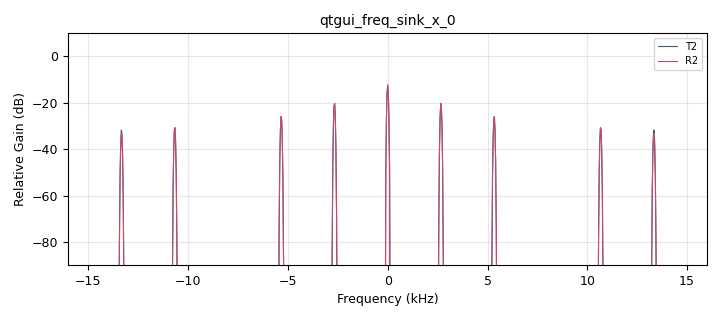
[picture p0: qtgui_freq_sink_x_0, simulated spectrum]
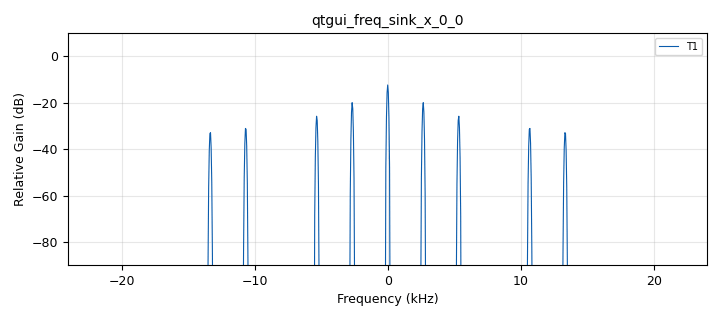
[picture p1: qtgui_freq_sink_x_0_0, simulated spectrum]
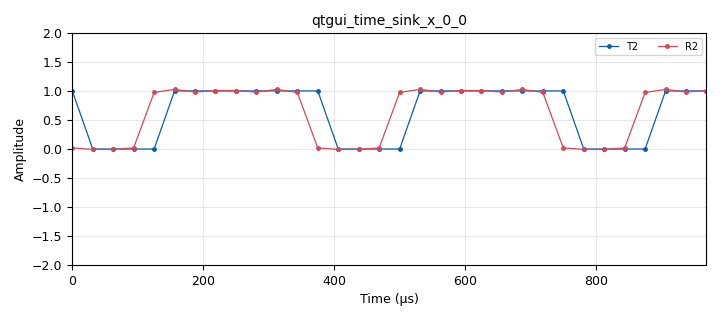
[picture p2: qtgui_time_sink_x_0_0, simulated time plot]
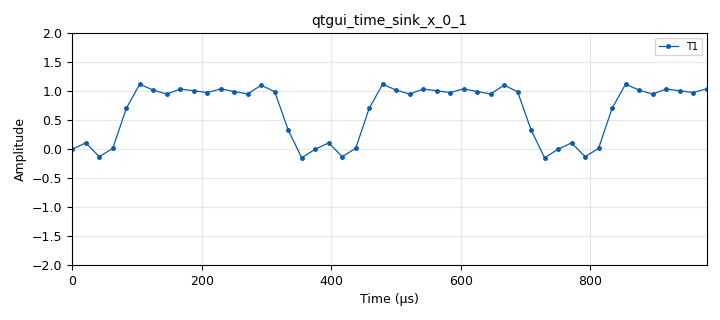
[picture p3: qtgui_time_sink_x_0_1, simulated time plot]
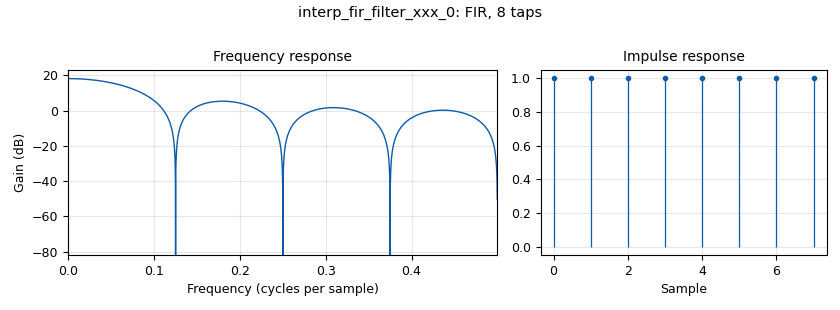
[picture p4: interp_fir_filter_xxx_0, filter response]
<?xml version='1.0' encoding='utf-8'?>
<?grc format='1' created='3.7.13'?>
<flow_graph>
<block>
<key>options</key>
<param><key>id</key><value>top_block</value></param>
<param><key>generate_options</key><value>qt_gui</value></param>
<param><key>run</key><value>run_stop</value></param>
</block>
<block>
<key>variable</key>
<param><key>id</key><value>BW</value></param>
<param><key>value</key><value>Rb*Sps/2</value></param>
</block>
<block>
<key>variable_qtgui_range</key>
<param><key>id</key><value>Del</value></param>
<param><key>value</key><value>5</value></param>
<param><key>gui_hint</key><value>0,2,1,1</value></param>
<param><key>label</key><value>Retardo</value></param>
<param><key>orient</key><value>Qt.Horizontal</value></param>
<param><key>start</key><value>-200</value></param>
<param><key>step</key><value>1</value></param>
<param><key>stop</key><value>200</value></param>
<param><key>rangeType</key><value>int</value></param>
</block>
<block>
<key>variable</key>
<param><key>id</key><value>Kd</value></param>
<param><key>value</key><value>float(samp_rate_data)/samp_rate_d</value></param>
</block>
<block>
<key>variable</key>
<param><key>id</key><value>Ki</value></param>
<param><key>value</key><value>float(samp_rate_d)/samp_rate_data</value></param>
</block>
<block>
<key>variable</key>
<param><key>id</key><value>Rb</value></param>
<param><key>value</key><value>samp_rate_data/Sps</value></param>
</block>
<block>
<key>variable</key>
<param><key>id</key><value>Sps</value></param>
<param><key>value</key><value>8</value></param>
</block>
<block>
<key>variable_qtgui_range</key>
<param><key>id</key><value>Vol</value></param>
<param><key>value</key><value>1.</value></param>
<param><key>gui_hint</key><value>0,1,1,1</value></param>
<param><key>label</key><value>Volumen</value></param>
<param><key>orient</key><value>Qt.Horizontal</value></param>
<param><key>start</key><value>0</value></param>
<param><key>step</key><value>10/100.</value></param>
<param><key>stop</key><value>10.</value></param>
</block>
<block>
<key>variable</key>
<param><key>id</key><value>f_nyq</value></param>
<param><key>value</key><value>BW*2</value></param>
</block>
<block>
<key>variable_qtgui_check_box</key>
<param><key>id</key><value>run_stop</value></param>
<param><key>value</key><value>True</value></param>
<param><key>false</key><value>False</value></param>
<param><key>gui_hint</key><value>0,0</value></param>
<param><key>label</key><value>Inicial/Parar</value></param>
<param><key>true</key><value>True</value></param>
<param><key>type</key><value>int</value></param>
</block>
<block>
<key>variable</key>
<param><key>id</key><value>samp_rate_d</value></param>
<param><key>value</key><value>BW*3</value></param>
</block>
<block>
<key>variable</key>
<param><key>id</key><value>samp_rate_data</value></param>
<param><key>value</key><value>32000</value></param>
</block>
<block>
<key>blocks_delay</key>
<param><key>id</key><value>blocks_delay_0_0</value></param>
<param><key>delay</key><value>Del</value></param>
<param><key>type</key><value>float</value></param>
</block>
<block>
<key>blocks_null_sink</key>
<param><key>id</key><value>blocks_null_sink_0</value></param>
<param><key>bus_conns</key><value>[[0,],]</value></param>
<param><key>type</key><value>float</value></param>
</block>
<block>
<key>blocks_vector_source_x</key>
<param><key>id</key><value>blocks_vector_source_x_0</value></param>
<param><key>type</key><value>float</value></param>
<param><key>repeat</key><value>True</value></param>
<param><key>vector</key><value>(1,0, 0,0,0,0,0,0,0,0,0,0)</value></param>
</block>
<block>
<key>interp_fir_filter_xxx</key>
<param><key>id</key><value>interp_fir_filter_xxx_0</value></param>
<param><key>interp</key><value>1</value></param>
<param><key>taps</key><value>([1]*Sps)</value></param>
<param><key>type</key><value>fff</value></param>
</block>
<block>
<key>qtgui_tab_widget</key>
<param><key>id</key><value>menu</value></param>
<param><key>gui_hint</key><value>1,0,1,3</value></param>
<param><key>label0</key><value>tiempo</value></param>
<param><key>label1</key><value>frecuencia</value></param>
<param><key>num_tabs</key><value>2</value></param>
</block>
<block>
<key>qtgui_freq_sink_x</key>
<param><key>id</key><value>qtgui_freq_sink_x_0</value></param>
<param><key>average</key><value>0.05</value></param>
<param><key>bw</key><value>samp_rate_data</value></param>
<param><key>fc</key><value>0</value></param>
<param><key>fftsize</key><value>1024</value></param>
<param><key>gui_hint</key><value>menu@1:2,0,1,1</value></param>
<param><key>color1</key><value>"red"</value></param>
<param><key>label1</key><value>T2</value></param>
<param><key>width1</key><value>2</value></param>
<param><key>color2</key><value>"blue"</value></param>
<param><key>label2</key><value>R2</value></param>
<param><key>width2</key><value>2</value></param>
<param><key>nconnections</key><value>2</value></param>
<param><key>showports</key><value>True</value></param>
<param><key>type</key><value>float</value></param>
<param><key>wintype</key><value>firdes.WIN_BLACKMAN_hARRIS</value></param>
<param><key>ymin</key><value>-90</value></param>
</block>
<block>
<key>qtgui_freq_sink_x</key>
<param><key>id</key><value>qtgui_freq_sink_x_0_0</value></param>
<param><key>average</key><value>0.05</value></param>
<param><key>bw</key><value>samp_rate_d</value></param>
<param><key>fc</key><value>0</value></param>
<param><key>fftsize</key><value>1024</value></param>
<param><key>gui_hint</key><value>menu@1:1,0,1,1</value></param>
<param><key>color1</key><value>"magenta"</value></param>
<param><key>label1</key><value>T1</value></param>
<param><key>width1</key><value>2</value></param>
<param><key>showports</key><value>True</value></param>
<param><key>type</key><value>float</value></param>
<param><key>wintype</key><value>firdes.WIN_BLACKMAN_hARRIS</value></param>
<param><key>ymin</key><value>-90</value></param>
</block>
<block>
<key>qtgui_time_sink_x</key>
<param><key>id</key><value>qtgui_time_sink_x_0_0</value></param>
<param><key>gui_hint</key><value>menu@0:4,0,1,2</value></param>
<param><key>color1</key><value>"blue"</value></param>
<param><key>label1</key><value>T2</value></param>
<param><key>marker1</key><value>0</value></param>
<param><key>width1</key><value>3</value></param>
<param><key>color2</key><value>"magenta"</value></param>
<param><key>label2</key><value>R2</value></param>
<param><key>marker2</key><value>0</value></param>
<param><key>width2</key><value>3</value></param>
<param><key>nconnections</key><value>2</value></param>
<param><key>size</key><value>1024/32</value></param>
<param><key>srate</key><value>samp_rate_data</value></param>
<param><key>type</key><value>float</value></param>
<param><key>ymax</key><value>2</value></param>
<param><key>ymin</key><value>-2</value></param>
</block>
<block>
<key>qtgui_time_sink_x</key>
<param><key>id</key><value>qtgui_time_sink_x_0_1</value></param>
<param><key>gui_hint</key><value>menu@0:3,0,1,2</value></param>
<param><key>color1</key><value>"magenta"</value></param>
<param><key>label1</key><value>T1</value></param>
<param><key>marker1</key><value>0</value></param>
<param><key>width1</key><value>3</value></param>
<param><key>size</key><value>int((1024/32)*Ki)</value></param>
<param><key>srate</key><value>samp_rate_d</value></param>
<param><key>type</key><value>float</value></param>
<param><key>ymax</key><value>2</value></param>
<param><key>ymin</key><value>-2</value></param>
</block>
<block>
<key>rational_resampler_xxx</key>
<param><key>id</key><value>rational_resampler_xxx_0</value></param>
<param><key>decim</key><value>samp_rate_data</value></param>
<param><key>interp</key><value>samp_rate_d</value></param>
<param><key>taps</key><value></value></param>
<param><key>type</key><value>fff</value></param>
</block>
<block>
<key>rational_resampler_xxx</key>
<param><key>id</key><value>rational_resampler_xxx_1</value></param>
<param><key>decim</key><value>samp_rate_d</value></param>
<param><key>interp</key><value>samp_rate_data</value></param>
<param><key>taps</key><value></value></param>
<param><key>type</key><value>fff</value></param>
</block>
<block>
<key>virtual_sink</key>
<param><key>id</key><value>virtual_sink_0_1_0_0</value></param>
<param><key>stream_id</key><value>T2</value></param>
</block>
<block>
<key>virtual_sink</key>
<param><key>id</key><value>virtual_sink_0_1_0_0_0</value></param>
<param><key>stream_id</key><value>T1</value></param>
</block>
<block>
<key>virtual_sink</key>
<param><key>id</key><value>virtual_sink_0_1_1</value></param>
<param><key>stream_id</key><value>R2</value></param>
</block>
<block>
<key>virtual_source</key>
<param><key>id</key><value>virtual_source_0_0</value></param>
<param><key>stream_id</key><value>R2</value></param>
</block>
<block>
<key>virtual_source</key>
<param><key>id</key><value>virtual_source_0_0_0</value></param>
<param><key>stream_id</key><value>T2</value></param>
</block>
<block>
<key>virtual_source</key>
<param><key>id</key><value>virtual_source_0_1_0</value></param>
<param><key>stream_id</key><value>R2</value></param>
</block>
<block>
<key>virtual_source</key>
<param><key>id</key><value>virtual_source_0_2</value></param>
<param><key>stream_id</key><value>T1</value></param>
</block>
<block>
<key>virtual_source</key>
<param><key>id</key><value>virtual_source_0_2_0</value></param>
<param><key>stream_id</key><value>T1</value></param>
</block>
<block>
<key>virtual_source</key>
<param><key>id</key><value>virtual_source_0_3</value></param>
<param><key>stream_id</key><value>T2</value></param>
</block>
<connection><source_block_id>blocks_delay_0_0</source_block_id><sink_block_id>qtgui_time_sink_x_0_0</sink_block_id><source_key>0</source_key><sink_key>0</sink_key></connection>
<connection><source_block_id>blocks_vector_source_x_0</source_block_id><sink_block_id>interp_fir_filter_xxx_0</sink_block_id><source_key>0</source_key><sink_key>0</sink_key></connection>
<connection><source_block_id>interp_fir_filter_xxx_0</source_block_id><sink_block_id>rational_resampler_xxx_0</sink_block_id><source_key>0</source_key><sink_key>0</sink_key></connection>
<connection><source_block_id>interp_fir_filter_xxx_0</source_block_id><sink_block_id>virtual_sink_0_1_0_0</sink_block_id><source_key>0</source_key><sink_key>0</sink_key></connection>
<connection><source_block_id>rational_resampler_xxx_0</source_block_id><sink_block_id>rational_resampler_xxx_1</sink_block_id><source_key>0</source_key><sink_key>0</sink_key></connection>
<connection><source_block_id>rational_resampler_xxx_0</source_block_id><sink_block_id>virtual_sink_0_1_0_0_0</sink_block_id><source_key>0</source_key><sink_key>0</sink_key></connection>
<connection><source_block_id>rational_resampler_xxx_1</source_block_id><sink_block_id>blocks_null_sink_0</sink_block_id><source_key>0</source_key><sink_key>0</sink_key></connection>
<connection><source_block_id>rational_resampler_xxx_1</source_block_id><sink_block_id>virtual_sink_0_1_1</sink_block_id><source_key>0</source_key><sink_key>0</sink_key></connection>
<connection><source_block_id>virtual_source_0_0</source_block_id><sink_block_id>qtgui_freq_sink_x_0</sink_block_id><source_key>0</source_key><sink_key>1</sink_key></connection>
<connection><source_block_id>virtual_source_0_0_0</source_block_id><sink_block_id>qtgui_freq_sink_x_0</sink_block_id><source_key>0</source_key><sink_key>0</sink_key></connection>
<connection><source_block_id>virtual_source_0_1_0</source_block_id><sink_block_id>qtgui_time_sink_x_0_0</sink_block_id><source_key>0</source_key><sink_key>1</sink_key></connection>
<connection><source_block_id>virtual_source_0_2</source_block_id><sink_block_id>qtgui_time_sink_x_0_1</sink_block_id><source_key>0</source_key><sink_key>0</sink_key></connection>
<connection><source_block_id>virtual_source_0_2_0</source_block_id><sink_block_id>qtgui_freq_sink_x_0_0</sink_block_id><source_key>0</source_key><sink_key>0</sink_key></connection>
<connection><source_block_id>virtual_source_0_3</source_block_id><sink_block_id>blocks_delay_0_0</sink_block_id><source_key>0</source_key><sink_key>0</sink_key></connection>
</flow_graph>
